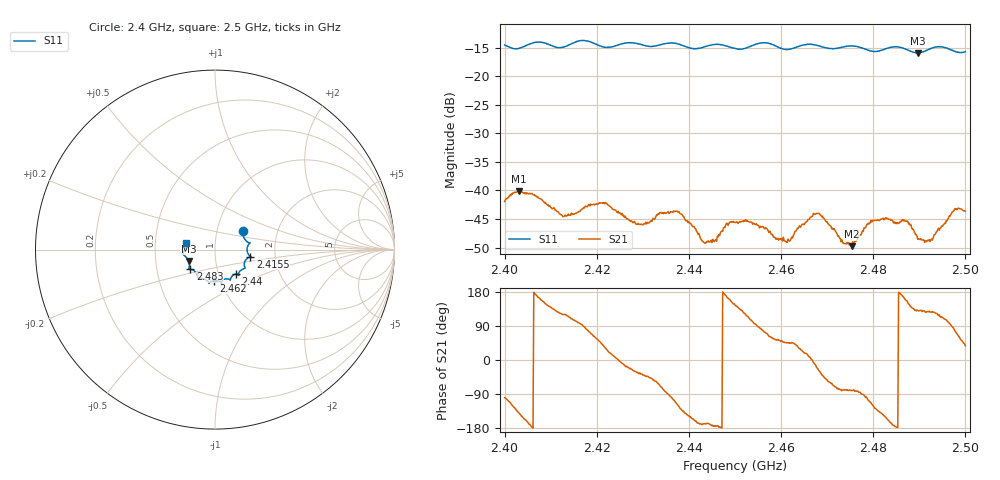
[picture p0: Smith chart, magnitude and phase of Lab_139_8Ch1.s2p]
# Hz S RI R 50
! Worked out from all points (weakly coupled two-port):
!   601 points, 2.4 GHz to 2.5 GHz, reference 50 ohm
!   highest |S21| = -40.16 dB at 2.4032 GHz (marker M1); lowest = -49.8 dB at 2.4753 GHz (marker M2)
!   lowest |S11| = -15.9 dB at 2.4897 GHz (marker M3), VSWR 1.38, Z = 36.9 - j4.84 ohm
!   |S11| at or under -10 dB: start of sweep to end of sweep
!   S12 and S22 are empty: the file has one direction only
!   S11 on the Smith chart (normalised r, x): 2.4 GHz: 1.33, +0.29; 2.4155 GHz: 1.48, -0.12; 2.44 GHz: 1.21, -0.34; 2.462 GHz: 0.93, -0.33; 2.483 GHz: 0.74, -0.17; 2.5 GHz: 0.72, +0.06
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2.4e9  0.1558 0.1064  -0.00134 -0.00788  0 0  0 0
2.403167e9  0.1666 0.0571  -0.00764 -0.00615  0 0  0 0
2.4155e9  0.197 -0.0392  -0.00131 0.00619  0 0  0 0
2.416667e9  0.2017 -0.0425  -0.000454 0.00676  0 0  0 0
2.421667e9  0.1697 -0.0603  0.00627 0.00438  0 0  0 0
2.429667e9  0.1562 -0.1081  0.00407 -0.00302  0 0  0 0
2.433333e9  0.1312 -0.1334  0.00292 -0.00555  0 0  0 0
2.437333e9  0.1315 -0.1426  -0.00281 -0.00596  0 0  0 0
2.44e9  0.1143 -0.1367  -0.00447 -0.00286  0 0  0 0
2.4435e9  0.0876 -0.1596  -0.00338 -0.000703  0 0  0 0
2.45e9  0.0647 -0.1629  -0.00432 0.00297  0 0  0 0
2.462e9  -0.00511 -0.1731  0.00257 0.00258  0 0  0 0
2.466667e9  -0.0343 -0.1876  0.00594 9.18e-05  0 0  0 0
2.475333e9  -0.0931 -0.1596  0.00052 -0.00321  0 0  0 0
2.479e9  -0.1031 -0.1339  -0.00149 -0.00496  0 0  0 0
2.483e9  -0.1373 -0.1099  -0.00524 -0.00229  0 0  0 0
2.483333e9  -0.1399 -0.1096  -0.00523 -0.00197  0 0  0 0
2.487333e9  -0.1429 -0.0941  -0.00493 0.00221  0 0  0 0
2.489667e9  -0.1474 -0.0639  -0.00243 0.00283  0 0  0 0
2.4925e9  -0.1726 -0.0307  -0.00217 0.00298  0 0  0 0
2.4975e9  -0.1667 -0.00105  0.000936 0.00653  0 0  0 0
2.5e9  -0.1597 0.0391  0.00521 0.004  0 0  0 0
